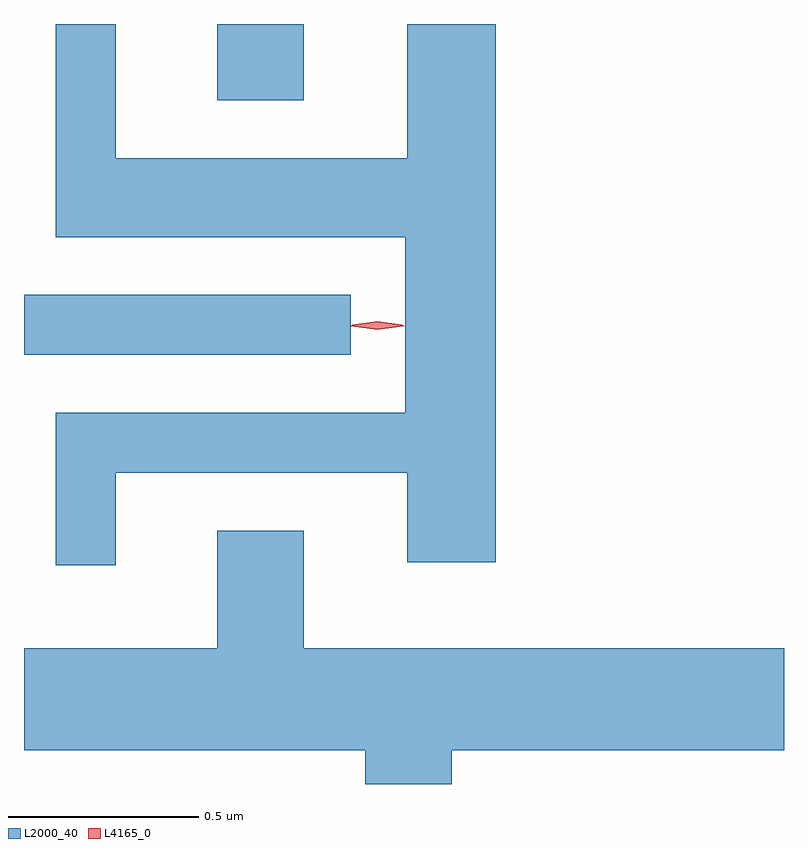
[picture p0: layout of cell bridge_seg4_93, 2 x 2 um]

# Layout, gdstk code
import gdstk
lib = gdstk.Library(unit=1e-6, precision=1e-09)
def R(c, l, rs):  # rectangles x0, y0, x1, y1
    for r in rs: c.add(gdstk.rectangle(r[:2], r[2:], *l))
def P(c, l, *ps):  # polygons
    for p in ps: c.add(gdstk.Polygon(p, *l))
L2000_40 = (2000, 40)
L4165_0 = (4165, 0)

bridge_seg4_93 = lib.new_cell('bridge_seg4_93')
R(bridge_seg4_93, L2000_40, [(989.403,1366.816,990.263,1366.974), (989.911,1367.486,990.139,1367.687)])
P(bridge_seg4_93, L2000_40, [(989.644,1366.506),(990.411,1366.506),(990.411,1366.271),(990.644,1366.271),(990.644,1367.687),(990.411,1367.687),(990.411,1367.334),(989.644,1367.334),(989.644,1367.687),(989.486,1367.687),(989.486,1367.126),(990.406,1367.126),(990.406,1366.664),(989.486,1366.664),(989.486,1366.263),(989.644,1366.263)],
  [(990.529,1365.776),(991.403,1365.776),(991.403,1366.044),(990.139,1366.044),(990.139,1366.354),(989.911,1366.354),(989.911,1366.044),(989.403,1366.044),(989.403,1365.776),(990.301,1365.776),(990.301,1365.687),(990.529,1365.687)])
P(bridge_seg4_93, L4165_0, [(990.333,1366.882),(990.264,1366.892),(990.263,1366.892),(990.264,1366.893),(990.333,1366.902),(990.402,1366.893),(990.403,1366.892),(990.402,1366.892)],
  [(990.333,1366.885),(990.267,1366.894),(990.267,1366.895),(990.267,1366.896),(990.333,1366.905),(990.399,1366.896),(990.399,1366.895),(990.399,1366.894)])

lib.write_gds('bridge_seg4_93.gds')
